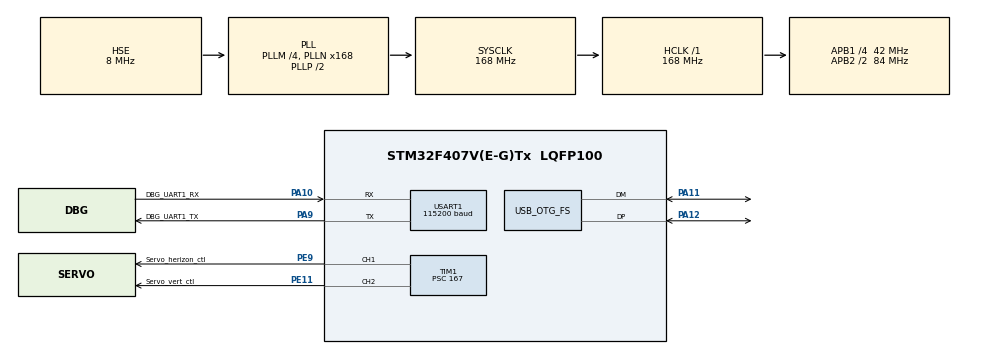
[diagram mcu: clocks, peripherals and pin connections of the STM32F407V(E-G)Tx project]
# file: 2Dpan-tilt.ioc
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FREERTOS.Tasks01=defaultTask,24,128,StartDefaultTask,Default,NULL,Dynamic,NULL,NULL
Mcu.Family=STM32F4
Mcu.Name=STM32F407V(E-G)Tx
Mcu.Package=LQFP100
NVIC.OTG_FS_IRQn=true\:5\:0\:false\:false\:true\:true\:false\:true\:true
NVIC.PriorityGroup=NVIC_PRIORITYGROUP_4
NVIC.TIM4_IRQn=true\:15\:0\:false\:false\:true\:false\:false\:true\:true
NVIC.TimeBase=TIM4_IRQn
NVIC.TimeBaseIP=TIM4
PA10.GPIO_Label=DBG_UART1_RX
PA10.Mode=Asynchronous
PA10.Signal=USART1_RX
PA11.Mode=Device_Only
PA11.Signal=USB_OTG_FS_DM
PA12.Mode=Device_Only
PA12.Signal=USB_OTG_FS_DP
PA13.Mode=Serial_Wire
PA13.Signal=SYS_JTMS-SWDIO
PA14.Mode=Serial_Wire
PA14.Signal=SYS_JTCK-SWCLK
PA9.GPIO_Label=DBG_UART1_TX
PA9.Mode=Asynchronous
PA9.Signal=USART1_TX
PE11.GPIO_Label=Servo_vert_ctl
PE11.GPIO_Speed=GPIO_SPEED_FREQ_VERY_HIGH
PE11.Signal=S_TIM1_CH2
PE9.GPIO_Label=Servo_herizon_ctl
PE9.GPIO_Speed=GPIO_SPEED_FREQ_VERY_HIGH
PE9.Signal=S_TIM1_CH1
PH0-OSC_IN.Mode=HSE-External-Oscillator
PH0-OSC_IN.Signal=RCC_OSC_IN
PH1-OSC_OUT.Mode=HSE-External-Oscillator
PH1-OSC_OUT.Signal=RCC_OSC_OUT
ProjectManager.HeapSize=0x200
ProjectManager.StackSize=0x400
ProjectManager.TargetToolchain=MDK-ARM V5.32
RCC.48MHZClocksFreq_Value=48000000
RCC.AHBFreq_Value=168000000
RCC.APB1CLKDivider=RCC_HCLK_DIV4
RCC.APB1Freq_Value=42000000
RCC.APB1TimFreq_Value=84000000
RCC.APB2CLKDivider=RCC_HCLK_DIV2
RCC.APB2Freq_Value=84000000
RCC.APB2TimFreq_Value=168000000
RCC.CortexFreq_Value=168000000
RCC.HCLKFreq_Value=168000000
RCC.HSE_VALUE=8000000
RCC.HSI_VALUE=16000000
RCC.LSE_VALUE=32768
RCC.PLLM=4
RCC.PLLN=168
RCC.PLLQ=7
RCC.SYSCLKFreq_VALUE=168000000
RCC.SYSCLKSource=RCC_SYSCLKSOURCE_PLLCLK
RCC.VCOOutputFreq_Value=336000000
SH.S_TIM1_CH1.0=TIM1_CH1,PWM Generation1 CH1
SH.S_TIM1_CH2.0=TIM1_CH2,PWM Generation2 CH2
TIM1.Channel-PWM\ Generation1\ CH1=TIM_CHANNEL_1
TIM1.Channel-PWM\ Generation2\ CH2=TIM_CHANNEL_2
TIM1.Period=19999
TIM1.Prescaler=167
USART1.BaudRate=115200
USART1.VirtualMode=VM_ASYNC
USB_DEVICE.CLASS_NAME_FS=CDC
USB_DEVICE.VirtualMode-CDC_FS=Cdc
USB_DEVICE.VirtualModeFS=Cdc_FS
USB_OTG_FS.VirtualMode=Device_Only
VP_FREERTOS_VS_CMSIS_V2.Mode=CMSIS_V2
VP_SYS_VS_tim4.Mode=TIM4
VP_USB_DEVICE_VS_USB_DEVICE_CDC_FS.Mode=CDC_FS
board=custom

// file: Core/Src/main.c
/* USER CODE BEGIN Header */
/**
  ******************************************************************************
  * @file           : main.c
  * @brief          : Main program body
  ******************************************************************************
  * @attention
  *
  * Copyright (c) 2026 STMicroelectronics.
  * All rights reserved.
  *
  * This software is licensed under terms that can be found in the LICENSE file
  * in the root directory of this software component.
  * If no LICENSE file comes with this software, it is provided AS-IS.
  *
  ******************************************************************************
  */
/* USER CODE END Header */
#include "main.h"
#include "cmsis_os.h"
#include "tim.h"
#include "usart.h"
#include "usb_device.h"
#include "gpio.h"

/* USER CODE BEGIN Includes */
#include "debug_uart.h"
#include "gimbal_app.h"

/* USER CODE END Includes */

void SystemClock_Config(void);
void MX_FREERTOS_Init(void);

int main(void)
{

  /* MCU Configuration--------------------------------------------------------*/

  /* Reset of all peripherals, Initializes the Flash interface and the Systick. */
  HAL_Init();

  /* Configure the system clock */
  SystemClock_Config();

  /* Initialize all configured peripherals */
  MX_GPIO_Init();
  MX_TIM1_Init();
  MX_USART1_UART_Init();
  /* USER CODE BEGIN 2 */
  GimbalApp_Init();
  HAL_TIM_PWM_Start(&htim1, TIM_CHANNEL_1);
  HAL_TIM_PWM_Start(&htim1, TIM_CHANNEL_2);
  DebugUart_WriteString("gimbal boot\r\n");

  /* USER CODE END 2 */

  /* Init scheduler */
  osKernelInitialize();  /* Call init function for freertos objects (in cmsis_os2.c) */
  MX_FREERTOS_Init();

  /* Start scheduler */
  osKernelStart();

  /* We should never get here as control is now taken by the scheduler */

  /* Infinite loop */
  while (1)
  {

  }
}

void SystemClock_Config(void)
{
  RCC_OscInitTypeDef RCC_OscInitStruct = {0};
  RCC_ClkInitTypeDef RCC_ClkInitStruct = {0};

  /** Configure the main internal regulator output voltage
  */
  __HAL_RCC_PWR_CLK_ENABLE();
  __HAL_PWR_VOLTAGESCALING_CONFIG(PWR_REGULATOR_VOLTAGE_SCALE1);

  /** Initializes the RCC Oscillators according to the specified parameters
  * in the RCC_OscInitTypeDef structure.
  */
  RCC_OscInitStruct.OscillatorType = RCC_OSCILLATORTYPE_HSE;
  RCC_OscInitStruct.HSEState = RCC_HSE_ON;
  RCC_OscInitStruct.PLL.PLLState = RCC_PLL_ON;
  RCC_OscInitStruct.PLL.PLLSource = RCC_PLLSOURCE_HSE;
  RCC_OscInitStruct.PLL.PLLM = 4;
  RCC_OscInitStruct.PLL.PLLN = 168;
  RCC_OscInitStruct.PLL.PLLP = RCC_PLLP_DIV2;
  RCC_OscInitStruct.PLL.PLLQ = 7;
  if (HAL_RCC_OscConfig(&RCC_OscInitStruct) != HAL_OK)
  {
    Error_Handler();
  }

  /** Initializes the CPU, AHB and APB buses clocks
  */
  RCC_ClkInitStruct.ClockType = RCC_CLOCKTYPE_HCLK|RCC_CLOCKTYPE_SYSCLK
                              |RCC_CLOCKTYPE_PCLK1|RCC_CLOCKTYPE_PCLK2;
  RCC_ClkInitStruct.SYSCLKSource = RCC_SYSCLKSOURCE_PLLCLK;
  RCC_ClkInitStruct.AHBCLKDivider = RCC_SYSCLK_DIV1;
  RCC_ClkInitStruct.APB1CLKDivider = RCC_HCLK_DIV4;
  RCC_ClkInitStruct.APB2CLKDivider = RCC_HCLK_DIV2;

  if (HAL_RCC_ClockConfig(&RCC_ClkInitStruct, FLASH_LATENCY_5) != HAL_OK)
  {
    Error_Handler();
  }
}

void HAL_TIM_PeriodElapsedCallback(TIM_HandleTypeDef *htim)
{
  if (htim->Instance == TIM4)
  {
    HAL_IncTick();
  }
}

void Error_Handler(void)
{
  __disable_irq();
  while (1)
  {
  }
}

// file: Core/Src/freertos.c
/* USER CODE BEGIN Header */
/**
  ******************************************************************************
  * File Name          : freertos.c
  * Description        : Code for freertos applications
  ******************************************************************************
  * @attention
  *
  * Copyright (c) 2026 STMicroelectronics.
  * All rights reserved.
  *
  * This software is licensed under terms that can be found in the LICENSE file
  * in the root directory of this software component.
  * If no LICENSE file comes with this software, it is provided AS-IS.
  *
  ******************************************************************************
  */
/* USER CODE END Header */

#include "FreeRTOS.h"
#include "task.h"
#include "main.h"
#include "cmsis_os.h"

/* USER CODE BEGIN Includes */
#include <stdbool.h>

#include "debug_uart.h"
#include "gimbal_app.h"
#include "usbd_cdc_if.h"

/* USER CODE END Includes */

/* Definitions for defaultTask */
osThreadId_t defaultTaskHandle;
const osThreadAttr_t defaultTask_attributes = {
  .name = "defaultTask",
  .stack_size = 128 * 4,
  .priority = (osPriority_t) osPriorityNormal,
};
osThreadId_t gimbalTaskHandle;
const osThreadAttr_t gimbalTask_attributes = {
  .name = "gimbalTask",
  .stack_size = 256 * 4,
  .priority = (osPriority_t) osPriorityAboveNormal,
};

/* USER CODE BEGIN FunctionPrototypes */
void StartGimbalTask(void *argument);

/* USER CODE END FunctionPrototypes */

void StartDefaultTask(void *argument);

extern void MX_USB_DEVICE_Init(void);
void MX_FREERTOS_Init(void); /* (MISRA C 2004 rule 8.1) */

void MX_FREERTOS_Init(void) {

  /* Create the thread(s) */
  /* creation of defaultTask */
  defaultTaskHandle = osThreadNew(StartDefaultTask, NULL, &defaultTask_attributes);
  gimbalTaskHandle = osThreadNew(StartGimbalTask, NULL, &gimbalTask_attributes);

}

void StartDefaultTask(void *argument)
{
  /* init code for USB_DEVICE */
  MX_USB_DEVICE_Init();
  /* USER CODE BEGIN StartDefaultTask */
  DebugUart_WriteString("usb cdc init\r\n");
  /* Infinite loop */
  for(;;)
  {
    osDelay(50);
  }
  /* USER CODE END StartDefaultTask */
}

/* USER CODE BEGIN Application */
void StartGimbalTask(void *argument)
{
  uint8_t tx_buf[GIMBAL_APP_MAX_FRAME_LEN];
  uint16_t tx_len = 0U;
  bool tx_pending = false;
  TickType_t last_wake = xTaskGetTickCount();

  (void)argument;
  DebugUart_WriteString("gimbal task start\r\n");
  vTaskDelay(pdMS_TO_TICKS(100));

  for (;;)
  {
    GimbalApp_ControlTick(HAL_GetTick());

    if (!tx_pending)
    {
      tx_pending = GimbalApp_PopTxFrame(tx_buf, sizeof(tx_buf), &tx_len);
    }

    if (tx_pending)
    {
      if (CDC_Transmit_FS(tx_buf, tx_len) == USBD_OK)
      {
        tx_pending = false;
        tx_len = 0U;
      }
    }

    vTaskDelayUntil(&last_wake, pdMS_TO_TICKS(10));
  }
}

/* USER CODE END Application */
